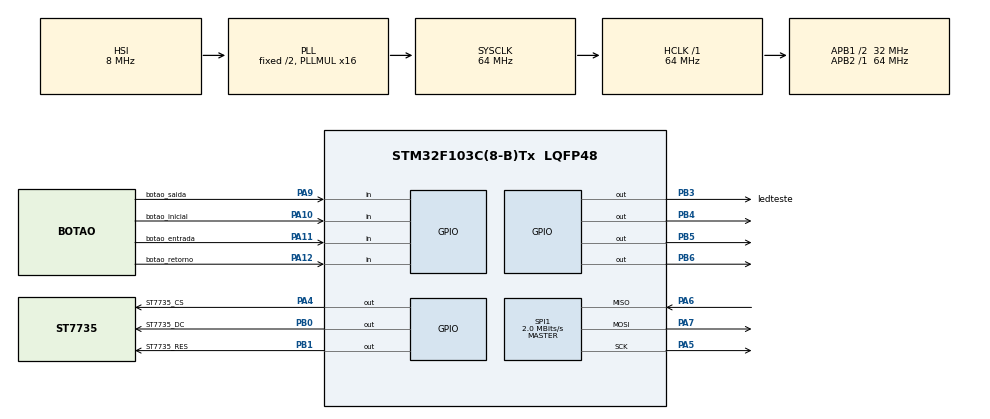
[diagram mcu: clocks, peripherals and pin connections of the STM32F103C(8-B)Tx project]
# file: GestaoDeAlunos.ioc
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Mcu.Family=STM32F1
Mcu.Name=STM32F103C(8-B)Tx
Mcu.Package=LQFP48
NVIC.PriorityGroup=NVIC_PRIORITYGROUP_4
PA10.GPIO_Label=botao_inicial
PA10.GPIO_PuPd=GPIO_PULLUP
PA10.Signal=GPIO_Input
PA11.GPIO_Label=botao_entrada
PA11.GPIO_PuPd=GPIO_PULLUP
PA11.Signal=GPIO_Input
PA12.GPIO_Label=botao_retorno
PA12.GPIO_PuPd=GPIO_PULLUP
PA12.Signal=GPIO_Input
PA13.Mode=Serial_Wire
PA13.Signal=SYS_JTMS-SWDIO
PA14.Mode=Serial_Wire
PA14.Signal=SYS_JTCK-SWCLK
PA4.GPIO_Label=ST7735_CS
PA4.Signal=GPIO_Output
PA5.Mode=Full_Duplex_Master
PA5.Signal=SPI1_SCK
PA6.Mode=Full_Duplex_Master
PA6.Signal=SPI1_MISO
PA7.Mode=Full_Duplex_Master
PA7.Signal=SPI1_MOSI
PA9.GPIO_Label=botao_saida
PA9.GPIO_PuPd=GPIO_PULLUP
PA9.Signal=GPIO_Input
PB0.GPIO_Label=ST7735_DC
PB0.Signal=GPIO_Output
PB1.GPIO_Label=ST7735_RES
PB1.Signal=GPIO_Output
PB3.GPIO_Label=ledteste
PB3.Signal=GPIO_Output
PB4.Signal=GPIO_Output
PB5.Signal=GPIO_Output
PB6.Signal=GPIO_Output
ProjectManager.HeapSize=0x200
ProjectManager.StackSize=0x400
ProjectManager.TargetToolchain=STM32CubeIDE
RCC.AHBFreq_Value=64000000
RCC.APB1CLKDivider=RCC_HCLK_DIV2
RCC.APB1Freq_Value=32000000
RCC.APB1TimFreq_Value=64000000
RCC.APB2Freq_Value=64000000
RCC.APB2TimFreq_Value=64000000
RCC.HCLKFreq_Value=64000000
RCC.PLLMUL=RCC_PLL_MUL16
RCC.SYSCLKFreq_VALUE=64000000
RCC.SYSCLKSource=RCC_SYSCLKSOURCE_PLLCLK
RCC.USBFreq_Value=64000000
SPI1.BaudRatePrescaler=SPI_BAUDRATEPRESCALER_32
SPI1.CLKPolarity=SPI_POLARITY_LOW
SPI1.CalculateBaudRate=2.0 MBits/s
SPI1.Direction=SPI_DIRECTION_2LINES
SPI1.Mode=SPI_MODE_MASTER
SPI1.VirtualType=VM_MASTER
board=custom

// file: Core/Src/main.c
/* USER CODE BEGIN Header */
/**
  ******************************************************************************
  * @file           : main.c
  * @brief          : Main program body
  ******************************************************************************
  * @attention
  *
  * <h2><center>&copy; Copyright (c) 2026 STMicroelectronics.
  * All rights reserved.</center></h2>
  *
  * This software component is licensed by ST under BSD 3-Clause license,
  * the "License"; You may not use this file except in compliance with the
  * License. You may obtain a copy of the License at:
  *                        opensource.org/licenses/BSD-3-Clause
  *
  ******************************************************************************
  */
/* USER CODE END Header */
#include "main.h"

/* USER CODE BEGIN Includes */
#include <stdlib.h>
#include <stdbool.h>
#include "st7735\st7735.h"
#include <stdio.h>

/* USER CODE END Includes */

/* USER CODE BEGIN PD */
#define BOTAO_INICIO	HAL_GPIO_ReadPin(botao_inicial_GPIO_Port, botao_inicial_Pin)
#define BOTAO_ENTRAR	HAL_GPIO_ReadPin(botao_entrada_GPIO_Port, botao_entrada_Pin)
#define BOTAO_SAIR		HAL_GPIO_ReadPin(botao_saida_GPIO_Port, botao_saida_Pin)
#define BOTAO_RETORNAR	HAL_GPIO_ReadPin(botao_retorno_GPIO_Port, botao_retorno_Pin)
#define DARK_GREEN  0x03E0
#define WHITE  0xFFFF
#define BLACK  0x0000

/* USER CODE END PD */

SPI_HandleTypeDef hspi1;

/* USER CODE BEGIN PV */
int senhaAleatoria[4];
int senhaDigitada[4];
int alunos[100];
int pos = 1;
GPIO_PinState clickSomar;
GPIO_PinState clickInicio;
GPIO_PinState clickMudar;
GPIO_PinState clickDezena;
GPIO_PinState clickUnidade;
GPIO_PinState clickConfirmar1;
GPIO_PinState clickConfirmar2;
GPIO_PinState clickEntrarAluno;
GPIO_PinState clickFinalizar1;
GPIO_PinState clickFinalizar2;
GPIO_PinState clickSaiu;
GPIO_PinState clickVoltou;
int digito1 = 0;
int digito2 = 0;
int digito3 = 0;
int digito4 = 0;
int tentativas = 0;
uint32_t tempoBloq = 0;
bool senhaCorreta = true;
bool AulaAtiva = false;
bool telaInicial = false;
int maxAlunos = 0;
int quantAlunos = 0;
uint32_t inicio = 0;
uint32_t tempoSaida = 0;
uint32_t tempoVolta = 0;
uint32_t mediaTempoFora = 0;
uint32_t tempoTotalFora = 0;
uint32_t fim = 0;
uint32_t duracao = 0;
int quantSaidas = 0;
int quantAlunoFora = 0;
int larguraMax = 70;
int altura = 6;
int presentes = 0;
int larguraAtual = 0;
int quantBloqueios = 0;
int matricula = 0;
/* USER CODE END PV */

void SystemClock_Config(void);
static void MX_GPIO_Init(void);
static void MX_SPI1_Init(void);
/* USER CODE BEGIN PFP */
void DigitarSenha(void);
void InserirAlunos(void);
void ControlarPresenca(void);
void MostrarSenha(void);
void MostrarQuantidade(void);
void MostrarAluno(int matricula);
void ControlarSaida(void);
void BarraDeCarregamento(void);
void MostrarBarraComPresenca(void);
void MostrarRelatorio(void);
/* USER CODE END PFP */

int main(void)
{

  /* MCU Configuration--------------------------------------------------------*/

  /* Reset of all peripherals, Initializes the Flash interface and the Systick. */
  HAL_Init();

  /* Configure the system clock */
  SystemClock_Config();

  /* Initialize all configured peripherals */
  MX_GPIO_Init();
  MX_SPI1_Init();
  /* USER CODE BEGIN 2 */
  ST7735_Init();

  /* USER CODE END 2 */

  /* Infinite loop */
  /* USER CODE BEGIN WHILE */
  while (1)
  {

	  clickInicio = BOTAO_INICIO;
	  if(clickInicio == 0){
		  srand(HAL_GetTick());
		  ST7735_FillScreen(DARK_GREEN);
		  ST7735_WriteString(25, 30, "Bem-Vindo!", Font_11x18, WHITE, DARK_GREEN);
		  HAL_Delay(2000);
		  ST7735_FillScreen(DARK_GREEN);
		  ST7735_WriteString(20, 10, "Digite sua senha:", Font_7x10, WHITE, DARK_GREEN);
		  ST7735_WriteString(10, 30, "Use PA9 para somar.", Font_7x10, WHITE, DARK_GREEN);
		  ST7735_WriteString(10, 45, "Use PA11 para mudar", Font_7x10, WHITE, DARK_GREEN);
		  HAL_Delay(3500);

		 for(int i = 0; i < 4; i++){
			 senhaAleatoria[i]  = rand() % 10;
		 }

		 tentativas = 0;
		 while(tentativas <= 3){

			 pos = 1;
			 DigitarSenha();

			 senhaDigitada[0] = digito1;
			 senhaDigitada[1] = digito2;
			 senhaDigitada[2] = digito3;
			 senhaDigitada[3] = digito4;

			 senhaCorreta = true;

			 for (int i = 0; i < 4; i++) {
				 if (senhaDigitada[i] != senhaAleatoria[i]) {
					 senhaCorreta = false;
					 break;
				 }
			 }

			 if(senhaCorreta){
				 ST7735_FillScreen(DARK_GREEN);
				 ST7735_WriteString(45, 20, "Senha", Font_11x18, WHITE, DARK_GREEN);
				 ST7735_WriteString(35, 50, "correta!", Font_11x18, WHITE, DARK_GREEN);
				 HAL_Delay(3000);
				 InserirAlunos();
				 ControlarPresenca();
				 ControlarSaida();
				 MostrarRelatorio();
				 telaInicial = false;
				 break;
			 }
			 else{
				 ST7735_FillScreen(DARK_GREEN);

				ST7735_WriteString(20, 20, "Senha incorreta!", Font_7x10, WHITE, DARK_GREEN);

				char tentativaStr[20];
				sprintf(tentativaStr, "Tentativa: %d/3", tentativas + 1);
				ST7735_WriteString(25, 50, tentativaStr, Font_7x10, WHITE, DARK_GREEN);

				HAL_Delay(2000);

				tentativas++;

				if (tentativas == 3) {

					quantBloqueios++;

					ST7735_FillScreen(DARK_GREEN);
					ST7735_WriteString(25, 15, "BLOQUEADO!", Font_11x18, WHITE, DARK_GREEN);
					ST7735_WriteString(10, 40, "Aguarde 30 segundos", Font_7x10, WHITE, DARK_GREEN);

					for(int i = 30; i > 0; i--){
						char tempoStr[20];
						sprintf(tempoStr, "Tempo: %ds", i);

						ST7735_FillRectangle(30, 60, 100, 20, DARK_GREEN); // limpa área
						ST7735_WriteString(30, 60, tempoStr, Font_7x10, WHITE, DARK_GREEN);

						HAL_Delay(1000);
					}

					if(quantBloqueios == 3){
				        ST7735_FillScreen(DARK_GREEN);
				        ST7735_WriteString(10, 25, "ACESSO BLOQUEADO", Font_7x10, WHITE, DARK_GREEN);
				        ST7735_WriteString(20, 45, "PERMANENTE", Font_7x10, WHITE, DARK_GREEN);
				        while(1);
					}

					ST7735_FillScreen(DARK_GREEN);
					ST7735_WriteString(15, 25, "Pode tentar", Font_11x18, WHITE, DARK_GREEN);
					ST7735_WriteString(25, 50, "novamente!", Font_11x18, WHITE, DARK_GREEN);

					HAL_Delay(2000);

					tentativas = 0;
				}
				}
		    }

		} else{

			if(telaInicial == false){

			 ST7735_FillScreen(DARK_GREEN);
			 ST7735_WriteString(25, 20, "Clique no", Font_11x18, WHITE, DARK_GREEN);
			 ST7735_WriteString(25, 40, "PA10", Font_11x18, WHITE, DARK_GREEN);

			 telaInicial = true;
			}

		}

    /* USER CODE END WHILE */

  }
}

void SystemClock_Config(void)
{
  RCC_OscInitTypeDef RCC_OscInitStruct = {0};
  RCC_ClkInitTypeDef RCC_ClkInitStruct = {0};

  /** Initializes the RCC Oscillators according to the specified parameters
  * in the RCC_OscInitTypeDef structure.
  */
  RCC_OscInitStruct.OscillatorType = RCC_OSCILLATORTYPE_HSI;
  RCC_OscInitStruct.HSIState = RCC_HSI_ON;
  RCC_OscInitStruct.HSICalibrationValue = RCC_HSICALIBRATION_DEFAULT;
  RCC_OscInitStruct.PLL.PLLState = RCC_PLL_ON;
  RCC_OscInitStruct.PLL.PLLSource = RCC_PLLSOURCE_HSI_DIV2;
  RCC_OscInitStruct.PLL.PLLMUL = RCC_PLL_MUL16;
  if (HAL_RCC_OscConfig(&RCC_OscInitStruct) != HAL_OK)
  {
    Error_Handler();
  }
  /** Initializes the CPU, AHB and APB buses clocks
  */
  RCC_ClkInitStruct.ClockType = RCC_CLOCKTYPE_HCLK|RCC_CLOCKTYPE_SYSCLK
                              |RCC_CLOCKTYPE_PCLK1|RCC_CLOCKTYPE_PCLK2;
  RCC_ClkInitStruct.SYSCLKSource = RCC_SYSCLKSOURCE_PLLCLK;
  RCC_ClkInitStruct.AHBCLKDivider = RCC_SYSCLK_DIV1;
  RCC_ClkInitStruct.APB1CLKDivider = RCC_HCLK_DIV2;
  RCC_ClkInitStruct.APB2CLKDivider = RCC_HCLK_DIV1;

  if (HAL_RCC_ClockConfig(&RCC_ClkInitStruct, FLASH_LATENCY_2) != HAL_OK)
  {
    Error_Handler();
  }
}

static void MX_SPI1_Init(void)
{

  /* SPI1 parameter configuration*/
  hspi1.Instance = SPI1;
  hspi1.Init.Mode = SPI_MODE_MASTER;
  hspi1.Init.Direction = SPI_DIRECTION_2LINES;
  hspi1.Init.DataSize = SPI_DATASIZE_8BIT;
  hspi1.Init.CLKPolarity = SPI_POLARITY_LOW;
  hspi1.Init.CLKPhase = SPI_PHASE_1EDGE;
  hspi1.Init.NSS = SPI_NSS_SOFT;
  hspi1.Init.BaudRatePrescaler = SPI_BAUDRATEPRESCALER_32;
  hspi1.Init.FirstBit = SPI_FIRSTBIT_MSB;
  hspi1.Init.TIMode = SPI_TIMODE_DISABLE;
  hspi1.Init.CRCCalculation = SPI_CRCCALCULATION_DISABLE;
  hspi1.Init.CRCPolynomial = 10;
  if (HAL_SPI_Init(&hspi1) != HAL_OK)
  {
    Error_Handler();
  }

}

static void MX_GPIO_Init(void)
{
  GPIO_InitTypeDef GPIO_InitStruct = {0};

  /* GPIO Ports Clock Enable */
  __HAL_RCC_GPIOA_CLK_ENABLE();
  __HAL_RCC_GPIOB_CLK_ENABLE();

  /*Configure GPIO pin Output Level */
  HAL_GPIO_WritePin(ST7735_CS_GPIO_Port, ST7735_CS_Pin, GPIO_PIN_RESET);

  /*Configure GPIO pin Output Level */
  HAL_GPIO_WritePin(GPIOB, ST7735_DC_Pin|ST7735_RES_Pin|ledteste_Pin|GPIO_PIN_4
                          |GPIO_PIN_5|GPIO_PIN_6, GPIO_PIN_RESET);

  /*Configure GPIO pin : ST7735_CS_Pin */
  GPIO_InitStruct.Pin = ST7735_CS_Pin;
  GPIO_InitStruct.Mode = GPIO_MODE_OUTPUT_PP;
  GPIO_InitStruct.Pull = GPIO_NOPULL;
  GPIO_InitStruct.Speed = GPIO_SPEED_FREQ_LOW;
  HAL_GPIO_Init(ST7735_CS_GPIO_Port, &GPIO_InitStruct);

  /*Configure GPIO pins : ST7735_DC_Pin ST7735_RES_Pin ledteste_Pin PB4
                           PB5 PB6 */
  GPIO_InitStruct.Pin = ST7735_DC_Pin|ST7735_RES_Pin|ledteste_Pin|GPIO_PIN_4
                          |GPIO_PIN_5|GPIO_PIN_6;
  GPIO_InitStruct.Mode = GPIO_MODE_OUTPUT_PP;
  GPIO_InitStruct.Pull = GPIO_NOPULL;
  GPIO_InitStruct.Speed = GPIO_SPEED_FREQ_LOW;
  HAL_GPIO_Init(GPIOB, &GPIO_InitStruct);

  /*Configure GPIO pins : botao_saida_Pin botao_inicial_Pin botao_entrada_Pin botao_retorno_Pin */
  GPIO_InitStruct.Pin = botao_saida_Pin|botao_inicial_Pin|botao_entrada_Pin|botao_retorno_Pin;
  GPIO_InitStruct.Mode = GPIO_MODE_INPUT;
  GPIO_InitStruct.Pull = GPIO_PULLUP;
  HAL_GPIO_Init(GPIOA, &GPIO_InitStruct);

}

/* USER CODE BEGIN 4 */
void DigitarSenha(void){

	ST7735_FillScreen(DARK_GREEN);
	ST7735_WriteString(20, 15,"Senha:",Font_11x18,WHITE,DARK_GREEN);

	digito1 = 0;
	digito2 = 0;
	digito3 = 0;
	digito4 = 0;

	MostrarSenha();

	 while(pos <= 4 ){
		 clickSomar = BOTAO_SAIR;
		 clickMudar = BOTAO_ENTRAR;

		 if(clickMudar == 0  ){
			 HAL_Delay(200);
			 pos++;
		 }

		 if(clickSomar == 0 && pos == 1){
			 HAL_Delay(200);
			 digito1 = (digito1 + 1) % 10;
		 }

		 else if(clickSomar == 0 && pos == 2){
			 HAL_Delay(200);
			 digito2 = (digito2 + 1) % 10;
		 }

		 else if(clickSomar == 0 && pos == 3){
			 HAL_Delay(200);
			 digito3 = (digito3 + 1) % 10;
		 }

		 else if(clickSomar == 0 && pos == 4){
			 HAL_Delay(200);
			 digito4 = (digito4 + 1) % 10;
		 }

		 MostrarSenha();
	 }
}

void InserirAlunos(void){

	ST7735_FillScreen(DARK_GREEN);
    ST7735_WriteString(10, 15, "Insira a quantidade", Font_7x10, WHITE, DARK_GREEN);
    ST7735_WriteString(40, 30, "de alunos", Font_7x10, WHITE, DARK_GREEN);
    ST7735_WriteString(10, 50, "PA9 = DEZENA", Font_7x10, WHITE, DARK_GREEN);
    ST7735_WriteString(10, 65, "PA11 = UNIDADE", Font_7x10, WHITE, DARK_GREEN);

	maxAlunos = 0;

	while(1){

		clickConfirmar1 = BOTAO_RETORNAR;
		clickDezena = BOTAO_SAIR;
		clickUnidade = BOTAO_ENTRAR;

		if(clickDezena == 0){
			HAL_Delay(250);
			maxAlunos = maxAlunos + 10;
			MostrarQuantidade();
		}
		if(clickUnidade == 0){
			HAL_Delay(250);
			maxAlunos++;
			MostrarQuantidade();
		}
		if(clickConfirmar1 == 0){
			inicio = HAL_GetTick();
			HAL_Delay(250);
			break;
		}
	}
}

void MostrarQuantidade(void){

    char buffer[10];

    sprintf(buffer, "%d", maxAlunos);
	ST7735_FillScreen(DARK_GREEN);
    ST7735_WriteString(25, 15, "Alunos:", Font_11x18, WHITE, DARK_GREEN);
    ST7735_WriteString(35, 40, buffer, Font_11x18,WHITE,DARK_GREEN);
    ST7735_WriteString(25, 65, "PA12 = CONFIRMAR", Font_7x10, WHITE, DARK_GREEN);

}

void ControlarPresenca(void){

	quantAlunos = 0;

	clickConfirmar2 = BOTAO_SAIR;

	ST7735_FillScreen(DARK_GREEN);
	ST7735_WriteString(10, 10, "Clique no PA10 ", Font_7x10, WHITE, DARK_GREEN);
	ST7735_WriteString(10, 25, "para entrar", Font_7x10, WHITE, DARK_GREEN);
	ST7735_WriteString(10, 45, "Clique no PA9 ", Font_7x10, WHITE, DARK_GREEN);
	ST7735_WriteString(10, 65, "para iniciar", Font_7x10, WHITE, DARK_GREEN);

	AulaAtiva = false;

	while(AulaAtiva == false){

	    clickEntrarAluno = BOTAO_INICIO;
	    clickConfirmar2 = BOTAO_SAIR;

	    if(clickEntrarAluno == 0){
	    	HAL_Delay(200);

	    	if(quantAlunos < maxAlunos){
	    		quantAlunos++;
	    		matricula = 0;
	    		MostrarAluno(matricula);
	    		HAL_Delay(1500);
	    		ST7735_FillScreen(DARK_GREEN);
	    		ST7735_WriteString(10, 10, "Clique no PA10 ", Font_7x10, WHITE, DARK_GREEN);
	    		ST7735_WriteString(10, 25, "para entrar", Font_7x10, WHITE, DARK_GREEN);
	    		ST7735_WriteString(10, 45, "Clique no PA9 ", Font_7x10, WHITE, DARK_GREEN);
	    		ST7735_WriteString(10, 65, "para iniciar", Font_7x10, WHITE, DARK_GREEN);
	    	}

	    	while(BOTAO_RETORNAR == 0);
	    }

	    if(clickConfirmar2 == 0){
	    	HAL_Delay(200);
	    	AulaAtiva = true;
	    	while(BOTAO_SAIR == 0);
	    }

	}
}

void MostrarSenha(void){

    char buffer[10];

    sprintf(buffer, "%d", digito1);
    ST7735_WriteString(20, 50, buffer, Font_11x18, WHITE, DARK_GREEN);

    sprintf(buffer, "%d", digito2);
    ST7735_WriteString(40, 50, buffer, Font_11x18, WHITE, DARK_GREEN);

    sprintf(buffer, "%d", digito3);
    ST7735_WriteString(60, 50, buffer, Font_11x18, WHITE, DARK_GREEN);

    sprintf(buffer, "%d", digito4);
    ST7735_WriteString(80, 50, buffer, Font_11x18, WHITE, DARK_GREEN);
}

void MostrarAluno(int matricula){

	char texto[10];

	ST7735_FillScreen(DARK_GREEN);
	ST7735_WriteString(10, 10, "Bem-vindo!", Font_11x18, WHITE, DARK_GREEN);
	ST7735_WriteString(10, 35, "Matricula:", Font_7x10, WHITE, DARK_GREEN);
	sprintf(texto, "%d", matricula);
    ST7735_WriteString(45, 50, texto, Font_11x18, WHITE, DARK_GREEN);

}

void ControlarSaida(void){

	clickFinalizar1 = BOTAO_INICIO;
	clickFinalizar2 = BOTAO_ENTRAR;
	clickSaiu = BOTAO_SAIR;
	clickVoltou = BOTAO_RETORNAR;

	quantAlunoFora = 0;
	quantSaidas = 0;
	tempoSaida = 0;
	tempoVolta = 0;

	ST7735_FillScreen(DARK_GREEN);
	ST7735_WriteString(5, 10, "PA9 = SAIR", Font_7x10, WHITE, DARK_GREEN);
    ST7735_WriteString(5, 20, "PA12 = ENTRAR", Font_7x10, WHITE, DARK_GREEN);
    ST7735_WriteString(5, 30, "PA10 E PA11 = ACABAR", Font_7x10, WHITE, DARK_GREEN);
	BarraDeCarregamento();

	while(AulaAtiva){

		clickFinalizar1 = BOTAO_INICIO;
		clickFinalizar2 = BOTAO_ENTRAR;
		clickSaiu = BOTAO_SAIR;
		clickVoltou = BOTAO_RETORNAR;

		if(clickSaiu == 0){
			HAL_Delay(200);
			if(quantAlunoFora < 3 && quantAlunoFora < quantAlunos && maxAlunos != 0){
				tempoSaida = HAL_GetTick();
				HAL_Delay(200);
				quantAlunoFora++;
				quantSaidas++;
				MostrarBarraComPresenca();
		    }else if (maxAlunos == 0){
		    	ST7735_WriteString(10, 10, "Nenhum aluno!", Font_7x10, WHITE, DARK_GREEN);
		    	HAL_Delay(2000);
		    	MostrarBarraComPresenca();
		    }else{
			    ST7735_WriteString(5, 10, "Limite maximo!", Font_11x18, WHITE, DARK_GREEN);
		    	HAL_Delay(2000);
		    	MostrarBarraComPresenca();
		    }

		}

		if(clickVoltou == 0){
			HAL_Delay(200);

			if(quantAlunoFora > 0){
				tempoVolta = HAL_GetTick();
				tempoTotalFora += (tempoVolta - tempoSaida);
				quantAlunoFora--;
				MostrarBarraComPresenca();
			}else{
				ST7735_WriteString(10, 10, "Ninguem fora!", Font_11x18, WHITE, DARK_GREEN);
		    	HAL_Delay(2000);
		    	MostrarBarraComPresenca();
			}
		}

		if(clickFinalizar1 == 0 && clickFinalizar2 == 0){
		    HAL_Delay(300);
		    fim = HAL_GetTick();
		    duracao = fim - inicio;

		    if(quantSaidas > 0){
		        mediaTempoFora = tempoTotalFora / quantSaidas;
		    }

		    AulaAtiva = false;
		}
	}

}

void BarraDeCarregamento(void){

    char texto[20];

    larguraMax = 70;
    altura = 15;
    int presentes = quantAlunos;

    if (maxAlunos > 0) {
        larguraAtual = (presentes * larguraMax) / maxAlunos;
    } else {
        larguraAtual = 0;
    }

    ST7735_FillRectangle(5, 55, larguraMax, altura, WHITE);
    ST7735_FillRectangle(5, 55, larguraAtual, altura, BLACK);

    sprintf(texto, "(%d/%d)", presentes, maxAlunos);
    ST7735_WriteString(75, 60, texto, Font_7x10, WHITE, DARK_GREEN);
}

void MostrarRelatorio(void){

    char buffer[30];

    uint32_t mediaSegundos = mediaTempoFora / 1000;

    ST7735_FillScreen(DARK_GREEN);

    ST7735_WriteString(5, 5, "RELATORIO", Font_11x18, WHITE, DARK_GREEN);

    sprintf(buffer, "Presentes: %d", quantAlunos);
    ST7735_WriteString(5, 30, buffer, Font_7x10, WHITE, DARK_GREEN);

    sprintf(buffer, "Saidas: %d", quantSaidas);
    ST7735_WriteString(5, 45, buffer, Font_7x10, WHITE, DARK_GREEN);

    HAL_Delay(5000);
    ST7735_FillScreen(DARK_GREEN);
    ST7735_WriteString(5, 5, "RELATORIO", Font_11x18, WHITE, DARK_GREEN);

    sprintf(buffer, "Media fora: %lu s", mediaSegundos);
    ST7735_WriteString(5, 30, buffer, Font_7x10, WHITE, DARK_GREEN);

    sprintf(buffer, "Tempo total: %lu s", duracao / 1000);
    ST7735_WriteString(5, 45, buffer, Font_7x10, WHITE, DARK_GREEN);
    HAL_Delay(5000);

}

void MostrarBarraComPresenca(void) {

    char dentro[20];
    char fora[20];

    ST7735_FillScreen(DARK_GREEN);

    BarraDeCarregamento();

    sprintf(dentro, "Dentro: %d", quantAlunos - quantAlunoFora);
    sprintf(fora, "Fora: %d", quantAlunoFora);

    ST7735_WriteString(10, 10, dentro, Font_7x10, WHITE, DARK_GREEN);
    ST7735_WriteString(10, 20, fora, Font_7x10, WHITE, DARK_GREEN);
}
/* USER CODE END 4 */

void Error_Handler(void)
{
  __disable_irq();
  while (1)
  {
  }
}

/************************ (C) COPYRIGHT STMicroelectronics *****END OF FILE****/
